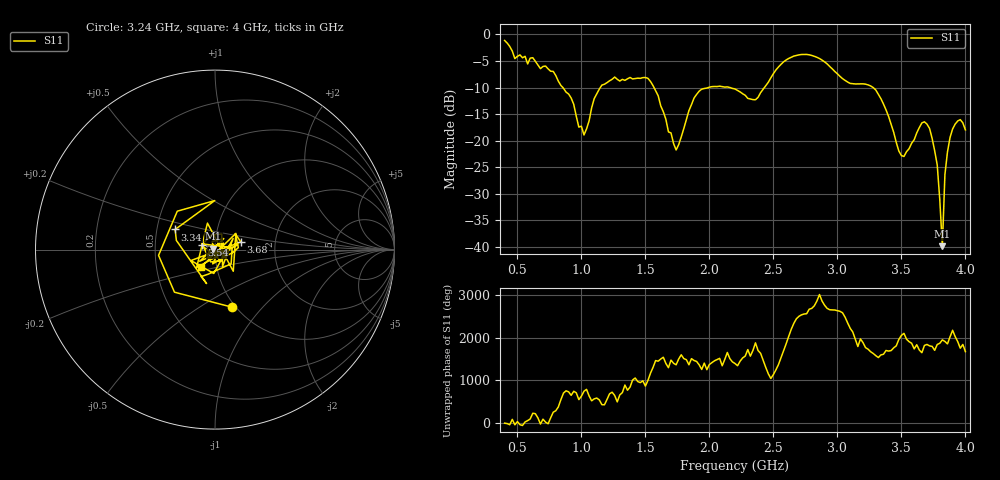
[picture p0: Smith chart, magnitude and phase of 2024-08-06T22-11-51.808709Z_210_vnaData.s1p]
!Created with skrf (http://scikit-rf.org).
# Hz S RI R 50.0
!freq ReS11 ImS11
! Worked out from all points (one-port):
!   181 points, 400 MHz to 4 GHz, reference 50 ohm
!   lowest |S11| = -39.9 dB at 3.82 GHz (marker M1), VSWR 1.02, Z = 49.2 + j0.555 ohm
!   |S11| at or under -10 dB: 855.4 MHz to 1.147 GHz (292.1 MHz wide, 29.2 % of centre); 1.567 GHz to 1.991 GHz (423.6 MHz wide, 23.8 % of centre); 3.28 GHz to end of sweep (the widest 3 of 4)
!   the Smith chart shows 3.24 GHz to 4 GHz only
!   S11 on the Smith chart (normalised r, x): 3.24 GHz: 0.96, -0.70; 3.34 GHz: 0.62, +0.15; 3.54 GHz: 0.86, +0.04; 3.68 GHz: 1.33, +0.12; 4 GHz: 0.84, -0.17
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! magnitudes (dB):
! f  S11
! 400 MHz  -1.1
! 480 MHz  -4.5
! 860 MHz  -10.1
! 1.02 GHz  -18.9
! 1.16 GHz  -9.5
! 1.3 GHz  -8.8
! 1.52 GHz  -8.3
! 1.74 GHz  -21.7
! 1.76 GHz  -20.7
! 1.92 GHz  -10.7
! 2.2 GHz  -10.3
! 2.36 GHz  -12.3
! 2.66 GHz  -4.1
! 2.86 GHz  -4.5
! 3.1 GHz  -9.2
! 3.24 GHz  -9.5
! 3.34 GHz  -12.1
! 3.48 GHz  -22.0
! 3.54 GHz  -22.1
! 3.56 GHz  -21.5
! 3.68 GHz  -16.4
! 3.72 GHz  -17.7
! 3.78 GHz  -24.6
! 3.82 GHz  -39.9
! 3.84 GHz  -26.4
! 3.88 GHz  -19.4
! 3.96 GHz  -16.0
! 4 GHz  -18.0
